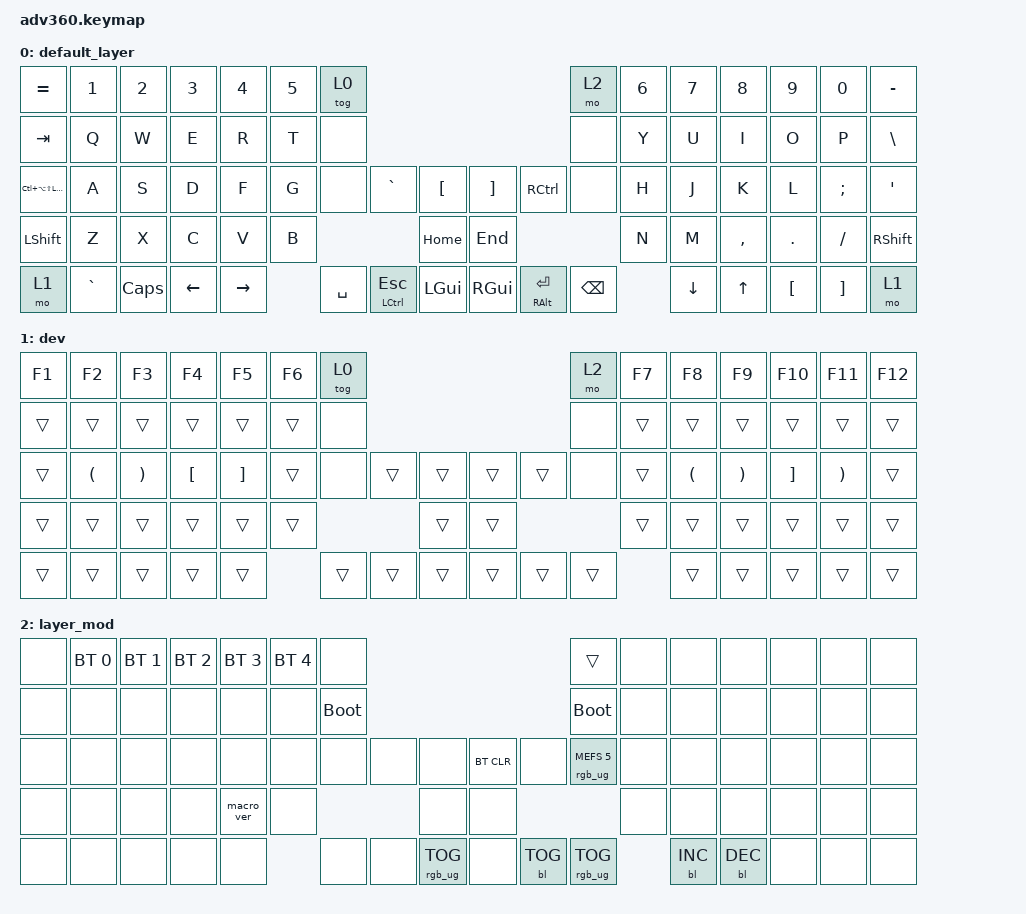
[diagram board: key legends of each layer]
/*
 * Copyright (c) 2020 The ZMK Contributors
 *
 * SPDX-License-Identifier: MIT
 */
/* THIS FILE WAS GENERATED!
 *
 * This file was generated automatically. You may or may not want to
 * edit it directly.
 */

#include "cust_keys.h"
#include <behaviors.dtsi>
#include <dt-bindings/zmk/backlight.h>
#include <dt-bindings/zmk/bt.h>
#include <dt-bindings/zmk/keys.h>
#include <dt-bindings/zmk/rgb.h>

#define LHYPER LC(LA(LS(LEFT_GUI)))

/ {
    behaviors {
        #include "macros.dtsi"
    #include "version.dtsi"

        hmr: hmr {
            compatible = "zmk,behavior-hold-tap";
            label = "HMR";
            #binding-cells = <2>;
            tapping-term-ms = <200>;
            flavor = "balanced";
            bindings = <&kp>, <&kp>;

            quick-tap-ms = <150>;
            require-prior-idle-ms = <210>;
            hold-trigger-on-release;
            hold-trigger-key-positions = <0 1 2 3 4 5 6 14 15 16 17 18 19 20 28 29 30 31 32 33 34 35 36 46 47 48 49 50 51 52 60 61 62 63 64 65 66 67 37 38 53 68 69 70>;
        };

        hrl: hrl {
            compatible = "zmk,behavior-hold-tap";
            label = "HRL";
            bindings = <&kp>, <&kp>;

            #binding-cells = <2>;
            tapping-term-ms = <200>;
            require-prior-idle-ms = <210>;
            flavor = "balanced";
            hold-trigger-on-release;
            quick-tap-ms = <150>;
            hold-trigger-key-positions = <7 8 9 10 11 12 13 21 22 23 24 25 26 27 37 38 39 40 41 42 43 44 45 53 54 55 56 57 58 59 68 69 70 71 72 73 74 75 52 65 66 67 35 36>;
        };

        thmb_ht: thmb_ht {
            compatible = "zmk,behavior-hold-tap";
            label = "THMB_HT";
            bindings = <&kp>, <&kp>;

            #binding-cells = <2>;
            tapping-term-ms = <150>;
            quick-tap-ms = <150>;
            retro-tap;
        };
    };

    keymap {
        compatible = "zmk,keymap";

        default_layer {
            bindings = <
&kp EQUAL                 &kp N1     &kp N2    &kp N3    &kp N4           &kp N5  &tog 0                                                                                                      &mo 2          &kp N6  &kp N7          &kp N8        &kp N9    &kp N0         &kp MINUS
&kp TAB                   &kp Q      &kp W     &kp E     &kp R            &kp T   &none                                                                                                       &none          &kp Y   &kp U           &kp I         &kp O     &kp P          &kp BSLH
&kp LC(LA(LS(LEFT_GUI)))  &kp A      &kp S     &kp D     &kp F            &kp G   &none      &kp GRAVE                     &kp LEFT_BRACKET      &kp RIGHT_BRACKET  &kp RIGHT_CONTROL         &none          &kp H   &kp J           &kp K         &kp L     &kp SEMICOLON  &kp SQT
&kp LSHFT                 &kp Z      &kp X     &kp C     &kp V            &kp B                                            &kp HOME              &kp END                                                     &kp N   &kp M           &kp COMMA     &kp DOT   &kp FSLH       &kp RSHFT
&mo 1                     &kp GRAVE  &kp CAPS  &kp LEFT  &kp RIGHT_ARROW          &kp SPACE  &thmb_ht LEFT_CONTROL ESCAPE  &kp LEFT_GUI          &kp RIGHT_GUI      &thmb_ht RIGHT_ALT ENTER  &kp BACKSPACE          &kp DOWN_ARROW  &kp UP_ARROW  &kp LBKT  &kp RBKT       &mo 1
            >;
        };

        dev {
            bindings = <
&kp F1  &kp F2                &kp F3                 &kp F4            &kp F5             &kp F6  &tog 0                                      &mo 2   &kp F7  &kp F8                &kp F9                 &kp F10            &kp F11                &kp F12
&trans  &trans                &trans                 &trans            &trans             &trans  &none                                       &none   &trans  &trans                &trans                 &trans             &trans                 &trans
&trans  &kp LEFT_PARENTHESIS  &kp RIGHT_PARENTHESIS  &kp LEFT_BRACKET  &kp RIGHT_BRACKET  &trans  &none   &trans  &trans      &trans  &trans  &none   &trans  &kp LEFT_PARENTHESIS  &kp RIGHT_PARENTHESIS  &kp RIGHT_BRACKET  &kp RIGHT_PARENTHESIS  &trans
&trans  &trans                &trans                 &trans            &trans             &trans                  &trans      &trans                  &trans  &trans                &trans                 &trans             &trans                 &trans
&trans  &trans                &trans                 &trans            &trans                     &trans  &trans  &trans      &trans  &trans  &trans          &trans                &trans                 &trans             &trans                 &trans
            >;
        };

        layer_mod {
            bindings = <
&none  &bt BT_SEL 0  &bt BT_SEL 1  &bt BT_SEL 2  &bt BT_SEL 3  &bt BT_SEL 4  &none                                                            &trans                  &none  &none       &none       &none  &none  &none
&none  &none         &none         &none         &none         &none         &bootloader                                                      &bootloader             &none  &none       &none       &none  &none  &none
&none  &none         &none         &none         &none         &none         &none        &none  &none                &bt BT_CLR  &none       &rgb_ug RGB_MEFS_CMD 5  &none  &none       &none       &none  &none  &none
&none  &none         &none         &none         &macro_ver    &none                             &none                &none                                           &none  &none       &none       &none  &none  &none
&none  &none         &none         &none         &none                       &none        &none  &rgb_ug RGB_TOG      &none       &bl BL_TOG  &rgb_ug RGB_TOG                &bl BL_INC  &bl BL_DEC  &none  &none  &none
            >;
        };
    };
};
